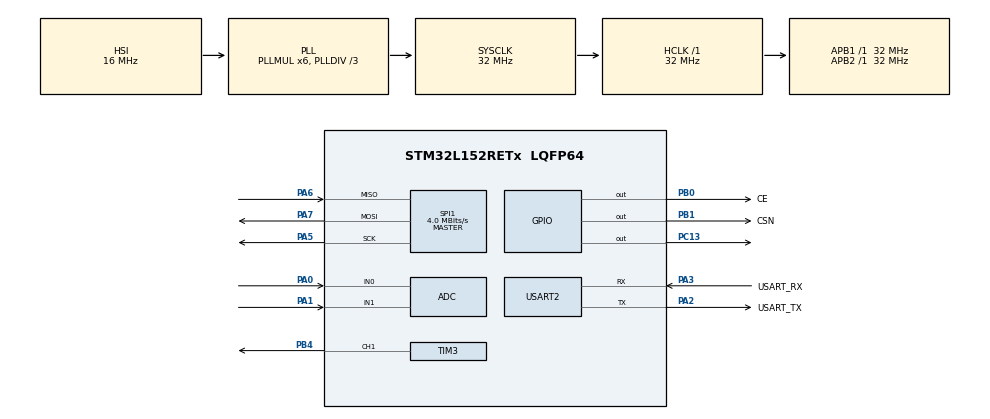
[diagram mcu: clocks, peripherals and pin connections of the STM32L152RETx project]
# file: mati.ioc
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ADC.Channel-0\#ChannelRegularConversion=ADC_CHANNEL_0
ADC.NbrOfConversionFlag=1
ADC.Rank-0\#ChannelRegularConversion=1
ADC.SamplingTime-0\#ChannelRegularConversion=ADC_SAMPLETIME_4CYCLES
Mcu.Family=STM32L1
Mcu.Name=STM32L152RETx
Mcu.Package=LQFP64
NVIC.PriorityGroup=NVIC_PRIORITYGROUP_0
PA0-WKUP1.Mode=IN0
PA0-WKUP1.Signal=ADC_IN0
PA1.Mode=IN1
PA1.Signal=ADC_IN1
PA13.GPIO_Label=TMS
PA13.Mode=Serial_Wire
PA13.Signal=SYS_JTMS-SWDIO
PA14.GPIO_Label=TCK
PA14.Mode=Serial_Wire
PA14.Signal=SYS_JTCK-SWCLK
PA2.GPIO_Label=USART_TX
PA2.Mode=Asynchronous
PA2.Signal=USART2_TX
PA3.GPIO_Label=USART_RX
PA3.Mode=Asynchronous
PA3.Signal=USART2_RX
PA5.Mode=Full_Duplex_Master
PA5.Signal=SPI1_SCK
PA6.Mode=Full_Duplex_Master
PA6.Signal=SPI1_MISO
PA7.Mode=Full_Duplex_Master
PA7.Signal=SPI1_MOSI
PB0.GPIO_Label=CE
PB0.GPIO_Speed=GPIO_SPEED_FREQ_MEDIUM
PB0.Signal=GPIO_Output
PB1.GPIO_Label=CSN
PB1.GPIO_Speed=GPIO_SPEED_FREQ_MEDIUM
PB1.Signal=GPIO_Output
PB3.GPIO_Label=SWO
PB3.Signal=SYS_JTDO-TRACESWO
PB4.Signal=S_TIM3_CH1
PC13-WKUP2.Signal=GPIO_Output
PC14-OSC32_IN.Mode=LSE-External-Oscillator
PC14-OSC32_IN.Signal=RCC_OSC32_IN
PC15-OSC32_OUT.Mode=LSE-External-Oscillator
PC15-OSC32_OUT.Signal=RCC_OSC32_OUT
PH0-OSC_IN.Mode=HSE-External-Clock-Source
PH0-OSC_IN.Signal=RCC_OSC_IN
PH1-OSC_OUT.Signal=RCC_OSC_OUT
ProjectManager.HeapSize=0x200
ProjectManager.StackSize=0x400
ProjectManager.TargetToolchain=STM32CubeIDE
RCC.48MHZClocksFreq_Value=48000000
RCC.AHBFreq_Value=32000000
RCC.APB1Freq_Value=32000000
RCC.APB1TimFreq_Value=32000000
RCC.APB2Freq_Value=32000000
RCC.APB2TimFreq_Value=32000000
RCC.HCLKFreq_Value=32000000
RCC.HSE_VALUE=8000000
RCC.HSI_VALUE=16000000
RCC.MSI_VALUE=2097000
RCC.PLLDIV=RCC_PLL_DIV3
RCC.PLLMUL=RCC_PLL_MUL6
RCC.RTCClockSelectionVirtual=RCC_RTCCLKSOURCE_LSE
RCC.SYSCLKFreq_VALUE=32000000
RCC.SYSCLKSource=RCC_SYSCLKSOURCE_PLLCLK
RCC.USBOutput=48000000
RCC.VCOOutputFreq_Value=96000000
SH.S_TIM3_CH1.0=TIM3_CH1,PWM Generation1 CH1
SPI1.BaudRatePrescaler=SPI_BAUDRATEPRESCALER_8
SPI1.CalculateBaudRate=4.0 MBits/s
SPI1.Direction=SPI_DIRECTION_2LINES
SPI1.Mode=SPI_MODE_MASTER
SPI1.VirtualType=VM_MASTER
TIM3.Channel-PWM\ Generation1\ CH1=TIM_CHANNEL_1
TIM3.Prescaler=319
TIM3.Pulse-PWM\ Generation1\ CH1=150
USART2.VirtualMode=VM_ASYNC
board=NUCLEO-L152RE

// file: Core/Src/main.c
/* USER CODE BEGIN Header */
/**
  ******************************************************************************
  * @file           : main.c
  * @brief          : Main program body
  ******************************************************************************
  */
/* USER CODE END Header */
#include "main.h"

/* USER CODE BEGIN Includes */
#include <stdlib.h> // Potrzebne do funkcji abs()
/* USER CODE END Includes */

/* USER CODE BEGIN PD */
#define HYSTERESIS  300
#define SERVO_MIN   100    // 1,0 ms  (100 * 10 µs)
#define SERVO_MAX   200    // 2,0 ms
#define SERVO_START 150    // 1,5 ms
/* USER CODE END PD */

ADC_HandleTypeDef hadc;

SPI_HandleTypeDef hspi1;

TIM_HandleTypeDef htim3;

UART_HandleTypeDef huart2;

void SystemClock_Config(void);
static void MX_GPIO_Init(void);
static void MX_USART2_UART_Init(void);
static void MX_ADC_Init(void);
static void MX_TIM3_Init(void);
static void MX_SPI1_Init(void);
/* USER CODE BEGIN PFP */

uint32_t read_ADC_Channel(uint32_t channel);
/* USER CODE END PFP */

int main(void)
{

  /* MCU Configuration--------------------------------------------------------*/

  /* Reset of all peripherals, Initializes the Flash interface and the Systick. */
  HAL_Init();

  /* Configure the system clock */
  SystemClock_Config();

  /* Initialize all configured peripherals */
  MX_GPIO_Init();
  MX_USART2_UART_Init();
  MX_ADC_Init();
  MX_TIM3_Init();
  MX_SPI1_Init();
  /* USER CODE BEGIN 2 */

    uint32_t ldr_left = 0;
    uint32_t ldr_right = 0;
    int difference = 0;
    uint32_t current_servo_pos = SERVO_START;

    // Zmienne do obsługi czasu
    uint32_t last_switch_time = HAL_GetTick(); // czas startu
    uint8_t system_state = 1; // 1 = PRACA (10s), 0 = SEN (5s)

    // Zasilanie serwa WYŁĄCZONE na start
    HAL_GPIO_WritePin(GPIOA, GPIO_PIN_4, GPIO_PIN_RESET);

    // Start PWM na Timerze 3
    HAL_TIM_PWM_Start(&htim3, TIM_CHANNEL_1);

    // Ustawienie pozycji startowej serwa
    __HAL_TIM_SET_COMPARE(&htim3, TIM_CHANNEL_1, current_servo_pos);

  /* USER CODE END 2 */

  /* Infinite loop */
  /* USER CODE BEGIN WHILE */
    while (1)
    {
      // Aktualny czas w milisekundach
      uint32_t current_time = HAL_GetTick();

      if (system_state == 1)
      {
          if (current_time - last_switch_time > 10000)
          {
              system_state = 0;
              last_switch_time = current_time; // Reset licznika czasu

              HAL_GPIO_WritePin(GPIOA, GPIO_PIN_4, GPIO_PIN_RESET);
              continue;
          }

          ldr_left = read_ADC_Channel(ADC_CHANNEL_0);
          ldr_right = read_ADC_Channel(ADC_CHANNEL_1);
          difference = (int)ldr_left - (int)ldr_right;

          if (abs(difference) > HYSTERESIS)
          {
              HAL_GPIO_WritePin(GPIOA, GPIO_PIN_4, GPIO_PIN_SET);
              HAL_GPIO_WritePin(GPIOC, GPIO_PIN_13, GPIO_PIN_SET);
              HAL_Delay(50); // Rozruch

              if (ldr_left > ldr_right)
              {
                  if (current_servo_pos < SERVO_MAX) current_servo_pos += 2;
              }
              else
              {
                  if (current_servo_pos > SERVO_MIN) current_servo_pos -= 2;
              }

              __HAL_TIM_SET_COMPARE(&htim3, TIM_CHANNEL_1, current_servo_pos);
              HAL_Delay(200); // Ruch serwa

              HAL_GPIO_WritePin(GPIOA, GPIO_PIN_4, GPIO_PIN_RESET);
          }
          else
          {
              HAL_GPIO_WritePin(GPIOA, GPIO_PIN_4, GPIO_PIN_RESET);
              HAL_GPIO_WritePin(GPIOC, GPIO_PIN_13, GPIO_PIN_RESET);
          }

          HAL_Delay(100); // przerwa między pomiarami w trybie pracy
      }

      else
      {
          if (current_time - last_switch_time > 10000)
          {
              system_state = 1;
              last_switch_time = current_time;
              continue;
          }

          HAL_PWR_EnterSLEEPMode(PWR_MAINREGULATOR_ON, PWR_SLEEPENTRY_WFI);
      }

    /* USER CODE END WHILE */

    }
}

void SystemClock_Config(void)
{
  RCC_OscInitTypeDef RCC_OscInitStruct = {0};
  RCC_ClkInitTypeDef RCC_ClkInitStruct = {0};

  /** Configure the main internal regulator output voltage
  */
  __HAL_PWR_VOLTAGESCALING_CONFIG(PWR_REGULATOR_VOLTAGE_SCALE1);

  /** Initializes the RCC Oscillators according to the specified parameters
  * in the RCC_OscInitTypeDef structure.
  */
  RCC_OscInitStruct.OscillatorType = RCC_OSCILLATORTYPE_HSI;
  RCC_OscInitStruct.HSIState = RCC_HSI_ON;
  RCC_OscInitStruct.HSICalibrationValue = RCC_HSICALIBRATION_DEFAULT;
  RCC_OscInitStruct.PLL.PLLState = RCC_PLL_ON;
  RCC_OscInitStruct.PLL.PLLSource = RCC_PLLSOURCE_HSI;
  RCC_OscInitStruct.PLL.PLLMUL = RCC_PLL_MUL6;
  RCC_OscInitStruct.PLL.PLLDIV = RCC_PLL_DIV3;
  if (HAL_RCC_OscConfig(&RCC_OscInitStruct) != HAL_OK)
  {
    Error_Handler();
  }

  /** Initializes the CPU, AHB and APB buses clocks
  */
  RCC_ClkInitStruct.ClockType = RCC_CLOCKTYPE_HCLK|RCC_CLOCKTYPE_SYSCLK
                              |RCC_CLOCKTYPE_PCLK1|RCC_CLOCKTYPE_PCLK2;
  RCC_ClkInitStruct.SYSCLKSource = RCC_SYSCLKSOURCE_PLLCLK;
  RCC_ClkInitStruct.AHBCLKDivider = RCC_SYSCLK_DIV1;
  RCC_ClkInitStruct.APB1CLKDivider = RCC_HCLK_DIV1;
  RCC_ClkInitStruct.APB2CLKDivider = RCC_HCLK_DIV1;

  if (HAL_RCC_ClockConfig(&RCC_ClkInitStruct, FLASH_LATENCY_1) != HAL_OK)
  {
    Error_Handler();
  }
}

static void MX_ADC_Init(void)
{

  ADC_ChannelConfTypeDef sConfig = {0};

  /** Configure the global features of the ADC (Clock, Resolution, Data Alignment and number of conversion)
  */
  hadc.Instance = ADC1;
  hadc.Init.ClockPrescaler = ADC_CLOCK_ASYNC_DIV1;
  hadc.Init.Resolution = ADC_RESOLUTION_12B;
  hadc.Init.DataAlign = ADC_DATAALIGN_RIGHT;
  hadc.Init.ScanConvMode = ADC_SCAN_DISABLE;
  hadc.Init.EOCSelection = ADC_EOC_SEQ_CONV;
  hadc.Init.LowPowerAutoWait = ADC_AUTOWAIT_DISABLE;
  hadc.Init.LowPowerAutoPowerOff = ADC_AUTOPOWEROFF_DISABLE;
  hadc.Init.ChannelsBank = ADC_CHANNELS_BANK_A;
  hadc.Init.ContinuousConvMode = DISABLE;
  hadc.Init.NbrOfConversion = 1;
  hadc.Init.DiscontinuousConvMode = DISABLE;
  hadc.Init.ExternalTrigConv = ADC_SOFTWARE_START;
  hadc.Init.ExternalTrigConvEdge = ADC_EXTERNALTRIGCONVEDGE_NONE;
  hadc.Init.DMAContinuousRequests = DISABLE;
  if (HAL_ADC_Init(&hadc) != HAL_OK)
  {
    Error_Handler();
  }

  /** Configure for the selected ADC regular channel its corresponding rank in the sequencer and its sample time.
  */
  sConfig.Channel = ADC_CHANNEL_0;
  sConfig.Rank = ADC_REGULAR_RANK_1;
  sConfig.SamplingTime = ADC_SAMPLETIME_4CYCLES;
  if (HAL_ADC_ConfigChannel(&hadc, &sConfig) != HAL_OK)
  {
    Error_Handler();
  }

}

static void MX_SPI1_Init(void)
{

  /* SPI1 parameter configuration*/
  hspi1.Instance = SPI1;
  hspi1.Init.Mode = SPI_MODE_MASTER;
  hspi1.Init.Direction = SPI_DIRECTION_2LINES;
  hspi1.Init.DataSize = SPI_DATASIZE_8BIT;
  hspi1.Init.CLKPolarity = SPI_POLARITY_LOW;
  hspi1.Init.CLKPhase = SPI_PHASE_1EDGE;
  hspi1.Init.NSS = SPI_NSS_SOFT;
  hspi1.Init.BaudRatePrescaler = SPI_BAUDRATEPRESCALER_8;
  hspi1.Init.FirstBit = SPI_FIRSTBIT_MSB;
  hspi1.Init.TIMode = SPI_TIMODE_DISABLE;
  hspi1.Init.CRCCalculation = SPI_CRCCALCULATION_DISABLE;
  hspi1.Init.CRCPolynomial = 10;
  if (HAL_SPI_Init(&hspi1) != HAL_OK)
  {
    Error_Handler();
  }

}

static void MX_TIM3_Init(void)
{

  TIM_MasterConfigTypeDef sMasterConfig = {0};
  TIM_OC_InitTypeDef sConfigOC = {0};

  htim3.Instance = TIM3;
  htim3.Init.Prescaler = 319;
  htim3.Init.Period    = 1999;
  htim3.Init.CounterMode = TIM_COUNTERMODE_UP;
  htim3.Init.ClockDivision = TIM_CLOCKDIVISION_DIV1;
  htim3.Init.AutoReloadPreload = TIM_AUTORELOAD_PRELOAD_DISABLE;
  if (HAL_TIM_PWM_Init(&htim3) != HAL_OK)
  {
    Error_Handler();
  }
  sMasterConfig.MasterOutputTrigger = TIM_TRGO_RESET;
  sMasterConfig.MasterSlaveMode = TIM_MASTERSLAVEMODE_DISABLE;
  if (HAL_TIMEx_MasterConfigSynchronization(&htim3, &sMasterConfig) != HAL_OK)
  {
    Error_Handler();
  }
  sConfigOC.OCMode = TIM_OCMODE_PWM1;
  sConfigOC.Pulse = 150;
  sConfigOC.OCPolarity = TIM_OCPOLARITY_HIGH;
  sConfigOC.OCFastMode = TIM_OCFAST_DISABLE;
  if (HAL_TIM_PWM_ConfigChannel(&htim3, &sConfigOC, TIM_CHANNEL_1) != HAL_OK)
  {
    Error_Handler();
  }
  HAL_TIM_MspPostInit(&htim3);

}

static void MX_USART2_UART_Init(void)
{

  huart2.Instance = USART2;
  huart2.Init.BaudRate = 115200;
  huart2.Init.WordLength = UART_WORDLENGTH_8B;
  huart2.Init.StopBits = UART_STOPBITS_1;
  huart2.Init.Parity = UART_PARITY_NONE;
  huart2.Init.Mode = UART_MODE_TX_RX;
  huart2.Init.HwFlowCtl = UART_HWCONTROL_NONE;
  huart2.Init.OverSampling = UART_OVERSAMPLING_16;
  if (HAL_UART_Init(&huart2) != HAL_OK)
  {
    Error_Handler();
  }

}

static void MX_GPIO_Init(void)
{
  GPIO_InitTypeDef GPIO_InitStruct = {0};

  /* GPIO Ports Clock Enable */
  __HAL_RCC_GPIOC_CLK_ENABLE();
  __HAL_RCC_GPIOH_CLK_ENABLE();
  __HAL_RCC_GPIOA_CLK_ENABLE();
  __HAL_RCC_GPIOB_CLK_ENABLE();

  /*Configure GPIO pin Output Level */
  HAL_GPIO_WritePin(GPIOC, GPIO_PIN_13, GPIO_PIN_RESET);

  /*Configure GPIO pin Output Level */
  HAL_GPIO_WritePin(GPIOB, CE_Pin|CSN_Pin, GPIO_PIN_RESET);

  /*Configure GPIO pin : PC13 */
  GPIO_InitStruct.Pin = GPIO_PIN_13;
  GPIO_InitStruct.Mode = GPIO_MODE_OUTPUT_PP;
  GPIO_InitStruct.Pull = GPIO_NOPULL;
  GPIO_InitStruct.Speed = GPIO_SPEED_FREQ_LOW;
  HAL_GPIO_Init(GPIOC, &GPIO_InitStruct);

  /*Configure GPIO pins : CE_Pin CSN_Pin */
  GPIO_InitStruct.Pin = CE_Pin|CSN_Pin;
  GPIO_InitStruct.Mode = GPIO_MODE_OUTPUT_PP;
  GPIO_InitStruct.Pull = GPIO_NOPULL;
  GPIO_InitStruct.Speed = GPIO_SPEED_FREQ_MEDIUM;
  HAL_GPIO_Init(GPIOB, &GPIO_InitStruct);

}

/* USER CODE BEGIN 4 */
uint32_t read_ADC_Channel(uint32_t channel)
{
  ADC_ChannelConfTypeDef sConfig = {0};

  sConfig.Channel = channel;
  sConfig.Rank = ADC_REGULAR_RANK_1;
  sConfig.SamplingTime = ADC_SAMPLETIME_16CYCLES;

  if (HAL_ADC_ConfigChannel(&hadc, &sConfig) != HAL_OK)
  {
    Error_Handler();
  }

  HAL_ADC_Start(&hadc);

  if (HAL_ADC_PollForConversion(&hadc, 100) == HAL_OK)
  {
      return HAL_ADC_GetValue(&hadc);
  }

  return 0;
}
/* USER CODE END 4 */

void Error_Handler(void)
{
  __disable_irq();
  while (1)
  {
  }
}
